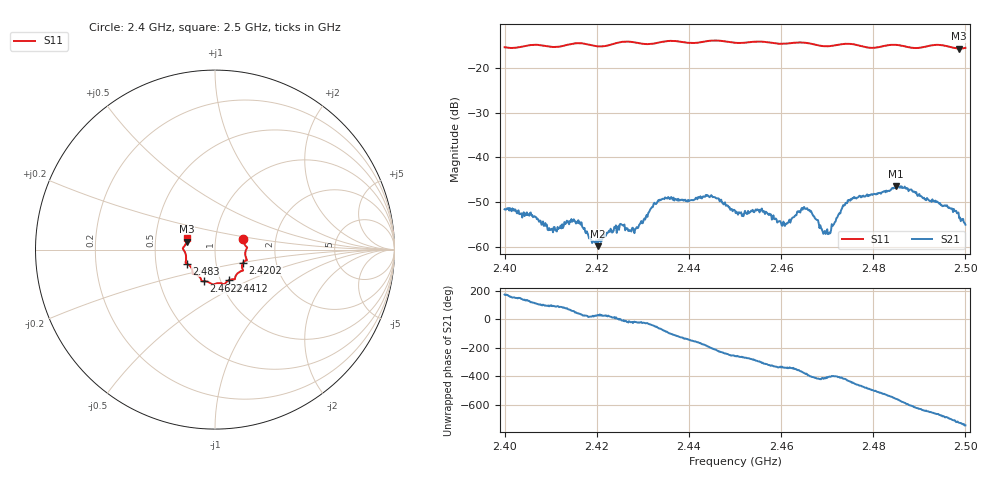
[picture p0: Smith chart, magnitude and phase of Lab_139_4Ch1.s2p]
# Hz S RI R 50
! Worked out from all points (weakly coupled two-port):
!   601 points, 2.4 GHz to 2.5 GHz, reference 50 ohm
!   highest |S21| = -46.36 dB at 2.485 GHz (marker M1); lowest = -59.8 dB at 2.4202 GHz (marker M2)
!   lowest |S11| = -15.8 dB at 2.4987 GHz (marker M3), VSWR 1.39, Z = 36.3 + j3.3 ohm
!   |S11| at or under -10 dB: start of sweep to end of sweep
!   S12 and S22 are empty: the file has one direction only
!   S11 on the Smith chart (normalised r, x): 2.4 GHz: 1.36, +0.17; 2.4202 GHz: 1.35, -0.20; 2.4412 GHz: 1.09, -0.39; 2.4622 GHz: 0.83, -0.30; 2.483 GHz: 0.72, -0.12; 2.5 GHz: 0.73, +0.09
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2.4e9  0.1574 0.0604  -0.00264 0.000219  0 0  0 0
2.406e9  0.1785 0.013  -0.00112 0.00198  0 0  0 0
2.41e9  0.1705 -0.00784  -0.000159 0.00155  0 0  0 0
2.414667e9  0.1765 -0.053  0.000955 0.00167  0 0  0 0
2.416667e9  0.1769 -0.0588  0.00155 0.00108  0 0  0 0
2.420167e9  0.1566 -0.0723  0.00088 0.000529  0 0  0 0
2.4255e9  0.1561 -0.1143  0.00176 -0.000247  0 0  0 0
2.4285e9  0.1477 -0.1194  0.00153 -0.000483  0 0  0 0
2.433333e9  0.1131 -0.1518  0.0017 -0.00287  0 0  0 0
2.441167e9  0.0758 -0.172  -0.00306 -0.00145  0 0  0 0
2.445167e9  0.0533 -0.1928  -0.00326 0.00155  0 0  0 0
2.45e9  0.0266 -0.1871  -0.000489 0.00251  0 0  0 0
2.462167e9  -0.0625 -0.1768  0.00193 0.000598  0 0  0 0
2.464833e9  -0.0742 -0.1748  0.00266 -0.000663  0 0  0 0
2.466667e9  -0.0775 -0.1666  0.00171 -0.00171  0 0  0 0
2.470167e9  -0.0982 -0.1422  0.000968 -0.00101  0 0  0 0
2.475e9  -0.1255 -0.1341  0.000703 -0.00322  0 0  0 0
2.483e9  -0.1586 -0.078  -0.00414 -0.000478  0 0  0 0
2.483333e9  -0.1602 -0.0772  -0.00425 -0.00014  0 0  0 0
2.485e9  -0.1638 -0.0724  -0.00451 0.00166  0 0  0 0
2.498667e9  -0.1569 0.0442  0.00208 -0.000283  0 0  0 0
2.5e9  -0.1538 0.0622  0.00159 -0.000806  0 0  0 0
